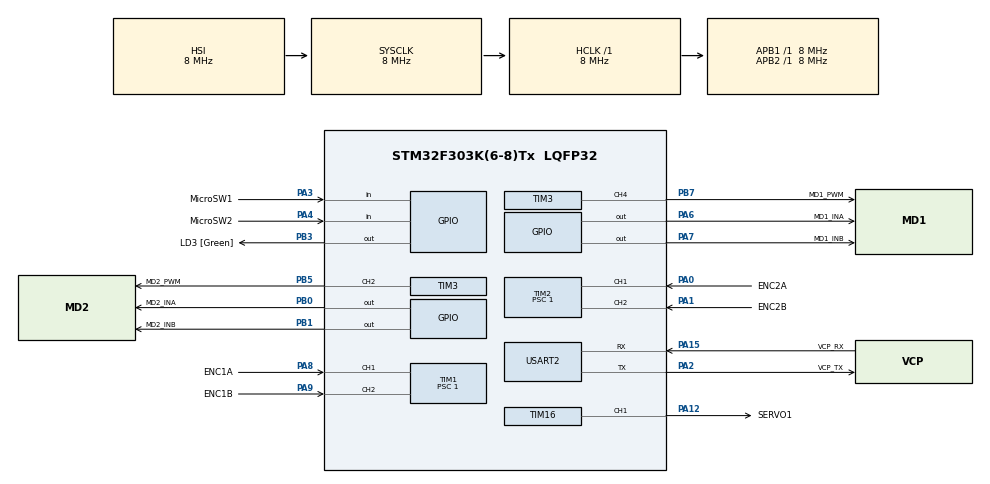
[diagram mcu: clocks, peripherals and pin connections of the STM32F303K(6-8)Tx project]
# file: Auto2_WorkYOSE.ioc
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Mcu.Family=STM32F3
Mcu.Name=STM32F303K(6-8)Tx
Mcu.Package=LQFP32
NVIC.PriorityGroup=NVIC_PRIORITYGROUP_4
NVIC.TIM6_DAC1_IRQn=true\:0\:0\:false\:false\:true\:true\:true
PA0.GPIO_Label=ENC2A
PA0.Signal=S_TIM2_CH1_ETR
PA1.GPIO_Label=ENC2B
PA1.Signal=S_TIM2_CH2
PA12.GPIO_Label=SERVO1
PA12.Signal=S_TIM16_CH1
PA13.GPIO_Label=SWDIO
PA13.Mode=Serial_Wire
PA13.Signal=SYS_JTMS-SWDIO
PA14.GPIO_Label=SWCLK
PA14.Mode=Serial_Wire
PA14.Signal=SYS_JTCK-SWCLK
PA15.GPIO_Label=VCP_RX
PA15.Mode=Asynchronous
PA15.Signal=USART2_RX
PA2.GPIO_Label=VCP_TX
PA2.Mode=Asynchronous
PA2.Signal=USART2_TX
PA3.GPIO_Label=MicroSW1
PA3.GPIO_PuPd=GPIO_PULLUP
PA3.Signal=GPIO_Input
PA4.GPIO_Label=MicroSW2
PA4.GPIO_PuPd=GPIO_PULLUP
PA4.Signal=GPIO_Input
PA6.GPIO_Label=MD1_INA
PA6.Signal=GPIO_Output
PA7.GPIO_Label=MD1_INB
PA7.Signal=GPIO_Output
PA8.GPIO_Label=ENC1A
PA8.Signal=S_TIM1_CH1
PA9.GPIO_Label=ENC1B
PA9.Signal=S_TIM1_CH2
PB0.GPIO_Label=MD2_INA
PB0.Signal=GPIO_Output
PB1.GPIO_Label=MD2_INB
PB1.Signal=GPIO_Output
PB3.GPIO_Label=LD3 [Green]
PB3.Signal=GPIO_Output
PB5.GPIO_Label=MD2_PWM
PB5.Signal=S_TIM3_CH2
PB7.GPIO_Label=MD1_PWM
PB7.Signal=S_TIM3_CH4
PF0\ /\ OSC_IN.GPIO_Label=MCO
PF0\ /\ OSC_IN.Mode=HSE-External-Clock-Source
PF0\ /\ OSC_IN.Signal=RCC_OSC_IN
ProjectManager.HeapSize=0x200
ProjectManager.StackSize=0x400
ProjectManager.TargetToolchain=SW4STM32
RCC.AHBFreq_Value=8000000
RCC.APB1Freq_Value=8000000
RCC.APB2Freq_Value=8000000
RCC.CortexFreq_Value=8000000
RCC.HSE_VALUE=8000000
RCC.HSI_VALUE=8000000
RCC.SYSCLKFreq_VALUE=8000000
SH.S_TIM16_CH1.0=TIM16_CH1,PWM Generation1 CH1
SH.S_TIM1_CH1.0=TIM1_CH1,Encoder_Interface
SH.S_TIM1_CH2.0=TIM1_CH2,Encoder_Interface
SH.S_TIM2_CH1_ETR.0=TIM2_CH1,Encoder_Interface
SH.S_TIM2_CH2.0=TIM2_CH2,Encoder_Interface
SH.S_TIM3_CH2.0=TIM3_CH2,PWM Generation2 CH2
SH.S_TIM3_CH4.0=TIM3_CH4,PWM Generation4 CH4
TIM1.Period=65535
TIM1.Prescaler=1
TIM16.Channel=TIM_CHANNEL_1
TIM16.Period=999
TIM16.Prescaler=159
TIM2.Period=65535
TIM2.Prescaler=1
TIM3.Channel-PWM\ Generation2\ CH2=TIM_CHANNEL_2
TIM3.Channel-PWM\ Generation4\ CH4=TIM_CHANNEL_4
TIM3.Period=999
TIM3.Prescaler=5
TIM6.Period=999
TIM6.Prescaler=159
USART2.VirtualMode-Asynchronous=VM_ASYNC
VP_TIM16_VS_ClockSourceINT.Mode=Enable_Timer
VP_TIM6_VS_ClockSourceINT.Mode=Enable_Timer
board=NUCLEO-F303K8

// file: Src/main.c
/* USER CODE BEGIN Header */
/**
  ******************************************************************************
  * @file           : main.c
  * @brief          : Main program body
  ******************************************************************************
  * @attention
  *
  * <h2><center>&copy; Copyright (c) 2019 STMicroelectronics.
  * All rights reserved.</center></h2>
  *
  * This software component is licensed by ST under BSD 3-Clause license,
  * the "License"; You may not use this file except in compliance with the
  * License. You may obtain a copy of the License at:
  *                        opensource.org/licenses/BSD-3-Clause
  *
  ******************************************************************************
  */
/* USER CODE END Header */

#include "main.h"

/* USER CODE BEGIN Includes */
#include "motor.h"
#include "encoder.h"
#include "servomotor.h"
#include "robotstate.h"
#include "microswitch.h"

/* USER CODE END Includes */

TIM_HandleTypeDef htim1;
TIM_HandleTypeDef htim2;
TIM_HandleTypeDef htim3;
TIM_HandleTypeDef htim6;
TIM_HandleTypeDef htim16;

UART_HandleTypeDef huart2;

/* USER CODE BEGIN PV */
static char s[255] = {'\0'};
int SERVO1_angle = SERVO1_ZERO_ANGLE;
int PREV_SERVO1_angle = SERVO1_ZERO_ANGLE;
/* USER CODE END PV */

void SystemClock_Config(void);
static void MX_GPIO_Init(void);
static void MX_TIM1_Init(void);
static void MX_TIM2_Init(void);
static void MX_TIM3_Init(void);
static void MX_TIM6_Init(void);
static void MX_TIM16_Init(void);
static void MX_USART2_UART_Init(void);

/* USER CODE BEGIN 0 */
void HAL_TIM_PeriodElapsedCallback(TIM_HandleTypeDef *htim) {
	//TIM6割り込み
	if (htim->Instance == TIM6) {
		GetPos();
	}

}

/* USER CODE END 0 */

int main(void)
{

  /* MCU Configuration--------------------------------------------------------*/

  /* Reset of all peripherals, Initializes the Flash interface and the Systick. */
  HAL_Init();

  /* Configure the system clock */
  SystemClock_Config();

  /* Initialize all configured peripherals */
  MX_GPIO_Init();
  MX_TIM1_Init();
  MX_TIM2_Init();
  MX_TIM3_Init();
  MX_TIM6_Init();
  MX_TIM16_Init();
  MX_USART2_UART_Init();
  /* USER CODE BEGIN 2 */
  ServoEnable();

  CoordinateEnable();

  EncEnable();

  HAL_Delay(300);

  ResetYOSE();

  __HAL_TIM_SET_COMPARE(&MD_X_TIM_HANDLER, MD_X_PWM_TIM_CH, 	500);
  HAL_GPIO_WritePin(MD_X_1_PORT, MD_X_1_PIN, GPIO_PIN_RESET);
  HAL_GPIO_WritePin(MD_X_2_PORT, MD_X_2_PIN, GPIO_PIN_SET);

  HAL_Delay(300);

  __HAL_TIM_SET_COMPARE(&MD_X_TIM_HANDLER, MD_X_PWM_TIM_CH, 	0);
  HAL_GPIO_WritePin(MD_X_1_PORT, MD_X_1_PIN, GPIO_PIN_RESET);
  HAL_GPIO_WritePin(MD_X_2_PORT, MD_X_2_PIN, GPIO_PIN_RESET);

  HAL_Delay(2000);

  __HAL_TIM_SET_COMPARE(&MD_Y_TIM_HANDLER, MD_Y_PWM_TIM_CH, 	500);
  HAL_GPIO_WritePin(MD_Y_1_PORT, MD_Y_1_PIN, GPIO_PIN_RESET);
  HAL_GPIO_WritePin(MD_Y_2_PORT, MD_Y_2_PIN, GPIO_PIN_SET);

  HAL_Delay(300);

  __HAL_TIM_SET_COMPARE(&MD_Y_TIM_HANDLER, MD_Y_PWM_TIM_CH, 	0);
  HAL_GPIO_WritePin(MD_Y_1_PORT, MD_Y_1_PIN, GPIO_PIN_RESET);
  HAL_GPIO_WritePin(MD_Y_2_PORT, MD_Y_2_PIN, GPIO_PIN_RESET);

  HAL_Delay(2000);

  //制御割り込み開始
  HAL_TIM_Base_Start_IT(&htim6);

  /* USER CODE END 2 */

  /* Infinite loop */
  /* USER CODE BEGIN WHILE */
  while (1)
  {
	  GetPos();

	  sprintf(s, "posrec.x: %d posrec.y: %d servo1: %d \r\n", (int)(posrec.x*1000.0f),(int)(posrec.y*1000.0f),SERVO1_angle);
	  HAL_UART_Transmit(&huart2,(uint8_t *)s, strlen(s), 100);

    /* USER CODE END WHILE */
//	  int servo_speed = 1;
//	  int delay = 10;

  }
}

void SystemClock_Config(void)
{
  RCC_OscInitTypeDef RCC_OscInitStruct = {0};
  RCC_ClkInitTypeDef RCC_ClkInitStruct = {0};
  RCC_PeriphCLKInitTypeDef PeriphClkInit = {0};

  /** Initializes the CPU, AHB and APB busses clocks
  */
  RCC_OscInitStruct.OscillatorType = RCC_OSCILLATORTYPE_HSI;
  RCC_OscInitStruct.HSIState = RCC_HSI_ON;
  RCC_OscInitStruct.HSICalibrationValue = RCC_HSICALIBRATION_DEFAULT;
  RCC_OscInitStruct.PLL.PLLState = RCC_PLL_NONE;
  if (HAL_RCC_OscConfig(&RCC_OscInitStruct) != HAL_OK)
  {
    Error_Handler();
  }
  /** Initializes the CPU, AHB and APB busses clocks
  */
  RCC_ClkInitStruct.ClockType = RCC_CLOCKTYPE_HCLK|RCC_CLOCKTYPE_SYSCLK
                              |RCC_CLOCKTYPE_PCLK1|RCC_CLOCKTYPE_PCLK2;
  RCC_ClkInitStruct.SYSCLKSource = RCC_SYSCLKSOURCE_HSI;
  RCC_ClkInitStruct.AHBCLKDivider = RCC_SYSCLK_DIV1;
  RCC_ClkInitStruct.APB1CLKDivider = RCC_HCLK_DIV1;
  RCC_ClkInitStruct.APB2CLKDivider = RCC_HCLK_DIV1;

  if (HAL_RCC_ClockConfig(&RCC_ClkInitStruct, FLASH_LATENCY_0) != HAL_OK)
  {
    Error_Handler();
  }
  PeriphClkInit.PeriphClockSelection = RCC_PERIPHCLK_TIM1;
  PeriphClkInit.Tim1ClockSelection = RCC_TIM1CLK_HCLK;
  if (HAL_RCCEx_PeriphCLKConfig(&PeriphClkInit) != HAL_OK)
  {
    Error_Handler();
  }
}

static void MX_TIM1_Init(void)
{

  TIM_Encoder_InitTypeDef sConfig = {0};
  TIM_MasterConfigTypeDef sMasterConfig = {0};

  htim1.Instance = TIM1;
  htim1.Init.Prescaler = 1;
  htim1.Init.CounterMode = TIM_COUNTERMODE_UP;
  htim1.Init.Period = 65535;
  htim1.Init.ClockDivision = TIM_CLOCKDIVISION_DIV1;
  htim1.Init.RepetitionCounter = 0;
  htim1.Init.AutoReloadPreload = TIM_AUTORELOAD_PRELOAD_DISABLE;
  sConfig.EncoderMode = TIM_ENCODERMODE_TI1;
  sConfig.IC1Polarity = TIM_ICPOLARITY_RISING;
  sConfig.IC1Selection = TIM_ICSELECTION_DIRECTTI;
  sConfig.IC1Prescaler = TIM_ICPSC_DIV1;
  sConfig.IC1Filter = 0;
  sConfig.IC2Polarity = TIM_ICPOLARITY_RISING;
  sConfig.IC2Selection = TIM_ICSELECTION_DIRECTTI;
  sConfig.IC2Prescaler = TIM_ICPSC_DIV1;
  sConfig.IC2Filter = 0;
  if (HAL_TIM_Encoder_Init(&htim1, &sConfig) != HAL_OK)
  {
    Error_Handler();
  }
  sMasterConfig.MasterOutputTrigger = TIM_TRGO_RESET;
  sMasterConfig.MasterOutputTrigger2 = TIM_TRGO2_RESET;
  sMasterConfig.MasterSlaveMode = TIM_MASTERSLAVEMODE_DISABLE;
  if (HAL_TIMEx_MasterConfigSynchronization(&htim1, &sMasterConfig) != HAL_OK)
  {
    Error_Handler();
  }

}

static void MX_TIM2_Init(void)
{

  TIM_Encoder_InitTypeDef sConfig = {0};
  TIM_MasterConfigTypeDef sMasterConfig = {0};

  htim2.Instance = TIM2;
  htim2.Init.Prescaler = 1;
  htim2.Init.CounterMode = TIM_COUNTERMODE_UP;
  htim2.Init.Period = 65535;
  htim2.Init.ClockDivision = TIM_CLOCKDIVISION_DIV1;
  htim2.Init.AutoReloadPreload = TIM_AUTORELOAD_PRELOAD_DISABLE;
  sConfig.EncoderMode = TIM_ENCODERMODE_TI1;
  sConfig.IC1Polarity = TIM_ICPOLARITY_RISING;
  sConfig.IC1Selection = TIM_ICSELECTION_DIRECTTI;
  sConfig.IC1Prescaler = TIM_ICPSC_DIV1;
  sConfig.IC1Filter = 0;
  sConfig.IC2Polarity = TIM_ICPOLARITY_RISING;
  sConfig.IC2Selection = TIM_ICSELECTION_DIRECTTI;
  sConfig.IC2Prescaler = TIM_ICPSC_DIV1;
  sConfig.IC2Filter = 0;
  if (HAL_TIM_Encoder_Init(&htim2, &sConfig) != HAL_OK)
  {
    Error_Handler();
  }
  sMasterConfig.MasterOutputTrigger = TIM_TRGO_RESET;
  sMasterConfig.MasterSlaveMode = TIM_MASTERSLAVEMODE_DISABLE;
  if (HAL_TIMEx_MasterConfigSynchronization(&htim2, &sMasterConfig) != HAL_OK)
  {
    Error_Handler();
  }

}

static void MX_TIM3_Init(void)
{

  TIM_MasterConfigTypeDef sMasterConfig = {0};
  TIM_OC_InitTypeDef sConfigOC = {0};

  htim3.Instance = TIM3;
  htim3.Init.Prescaler = 5;
  htim3.Init.CounterMode = TIM_COUNTERMODE_UP;
  htim3.Init.Period = 999;
  htim3.Init.ClockDivision = TIM_CLOCKDIVISION_DIV1;
  htim3.Init.AutoReloadPreload = TIM_AUTORELOAD_PRELOAD_DISABLE;
  if (HAL_TIM_PWM_Init(&htim3) != HAL_OK)
  {
    Error_Handler();
  }
  sMasterConfig.MasterOutputTrigger = TIM_TRGO_RESET;
  sMasterConfig.MasterSlaveMode = TIM_MASTERSLAVEMODE_DISABLE;
  if (HAL_TIMEx_MasterConfigSynchronization(&htim3, &sMasterConfig) != HAL_OK)
  {
    Error_Handler();
  }
  sConfigOC.OCMode = TIM_OCMODE_PWM1;
  sConfigOC.Pulse = 0;
  sConfigOC.OCPolarity = TIM_OCPOLARITY_HIGH;
  sConfigOC.OCFastMode = TIM_OCFAST_DISABLE;
  if (HAL_TIM_PWM_ConfigChannel(&htim3, &sConfigOC, TIM_CHANNEL_2) != HAL_OK)
  {
    Error_Handler();
  }
  if (HAL_TIM_PWM_ConfigChannel(&htim3, &sConfigOC, TIM_CHANNEL_4) != HAL_OK)
  {
    Error_Handler();
  }
  HAL_TIM_MspPostInit(&htim3);

}

static void MX_TIM6_Init(void)
{

  TIM_MasterConfigTypeDef sMasterConfig = {0};

  htim6.Instance = TIM6;
  htim6.Init.Prescaler = 159;
  htim6.Init.CounterMode = TIM_COUNTERMODE_UP;
  htim6.Init.Period = 999;
  htim6.Init.AutoReloadPreload = TIM_AUTORELOAD_PRELOAD_DISABLE;
  if (HAL_TIM_Base_Init(&htim6) != HAL_OK)
  {
    Error_Handler();
  }
  sMasterConfig.MasterOutputTrigger = TIM_TRGO_RESET;
  sMasterConfig.MasterSlaveMode = TIM_MASTERSLAVEMODE_DISABLE;
  if (HAL_TIMEx_MasterConfigSynchronization(&htim6, &sMasterConfig) != HAL_OK)
  {
    Error_Handler();
  }

}

static void MX_TIM16_Init(void)
{

  TIM_OC_InitTypeDef sConfigOC = {0};
  TIM_BreakDeadTimeConfigTypeDef sBreakDeadTimeConfig = {0};

  htim16.Instance = TIM16;
  htim16.Init.Prescaler = 159;
  htim16.Init.CounterMode = TIM_COUNTERMODE_UP;
  htim16.Init.Period = 999;
  htim16.Init.ClockDivision = TIM_CLOCKDIVISION_DIV1;
  htim16.Init.RepetitionCounter = 0;
  htim16.Init.AutoReloadPreload = TIM_AUTORELOAD_PRELOAD_DISABLE;
  if (HAL_TIM_Base_Init(&htim16) != HAL_OK)
  {
    Error_Handler();
  }
  if (HAL_TIM_PWM_Init(&htim16) != HAL_OK)
  {
    Error_Handler();
  }
  sConfigOC.OCMode = TIM_OCMODE_PWM1;
  sConfigOC.Pulse = 0;
  sConfigOC.OCPolarity = TIM_OCPOLARITY_HIGH;
  sConfigOC.OCNPolarity = TIM_OCNPOLARITY_HIGH;
  sConfigOC.OCFastMode = TIM_OCFAST_DISABLE;
  sConfigOC.OCIdleState = TIM_OCIDLESTATE_RESET;
  sConfigOC.OCNIdleState = TIM_OCNIDLESTATE_RESET;
  if (HAL_TIM_PWM_ConfigChannel(&htim16, &sConfigOC, TIM_CHANNEL_1) != HAL_OK)
  {
    Error_Handler();
  }
  sBreakDeadTimeConfig.OffStateRunMode = TIM_OSSR_DISABLE;
  sBreakDeadTimeConfig.OffStateIDLEMode = TIM_OSSI_DISABLE;
  sBreakDeadTimeConfig.LockLevel = TIM_LOCKLEVEL_OFF;
  sBreakDeadTimeConfig.DeadTime = 0;
  sBreakDeadTimeConfig.BreakState = TIM_BREAK_DISABLE;
  sBreakDeadTimeConfig.BreakPolarity = TIM_BREAKPOLARITY_HIGH;
  sBreakDeadTimeConfig.BreakFilter = 0;
  sBreakDeadTimeConfig.AutomaticOutput = TIM_AUTOMATICOUTPUT_DISABLE;
  if (HAL_TIMEx_ConfigBreakDeadTime(&htim16, &sBreakDeadTimeConfig) != HAL_OK)
  {
    Error_Handler();
  }
  HAL_TIM_MspPostInit(&htim16);

}

static void MX_USART2_UART_Init(void)
{

  huart2.Instance = USART2;
  huart2.Init.BaudRate = 38400;
  huart2.Init.WordLength = UART_WORDLENGTH_8B;
  huart2.Init.StopBits = UART_STOPBITS_1;
  huart2.Init.Parity = UART_PARITY_NONE;
  huart2.Init.Mode = UART_MODE_TX_RX;
  huart2.Init.HwFlowCtl = UART_HWCONTROL_NONE;
  huart2.Init.OverSampling = UART_OVERSAMPLING_16;
  huart2.Init.OneBitSampling = UART_ONE_BIT_SAMPLE_DISABLE;
  huart2.AdvancedInit.AdvFeatureInit = UART_ADVFEATURE_NO_INIT;
  if (HAL_UART_Init(&huart2) != HAL_OK)
  {
    Error_Handler();
  }

}

static void MX_GPIO_Init(void)
{
  GPIO_InitTypeDef GPIO_InitStruct = {0};

  /* GPIO Ports Clock Enable */
  __HAL_RCC_GPIOF_CLK_ENABLE();
  __HAL_RCC_GPIOA_CLK_ENABLE();
  __HAL_RCC_GPIOB_CLK_ENABLE();

  /*Configure GPIO pin Output Level */
  HAL_GPIO_WritePin(GPIOA, MD1_INA_Pin|MD1_INB_Pin, GPIO_PIN_RESET);

  /*Configure GPIO pin Output Level */
  HAL_GPIO_WritePin(GPIOB, MD2_INA_Pin|MD2_INB_Pin|LD3_Pin, GPIO_PIN_RESET);

  /*Configure GPIO pins : MicroSW1_Pin MicroSW2_Pin */
  GPIO_InitStruct.Pin = MicroSW1_Pin|MicroSW2_Pin;
  GPIO_InitStruct.Mode = GPIO_MODE_INPUT;
  GPIO_InitStruct.Pull = GPIO_PULLUP;
  HAL_GPIO_Init(GPIOA, &GPIO_InitStruct);

  /*Configure GPIO pins : MD1_INA_Pin MD1_INB_Pin */
  GPIO_InitStruct.Pin = MD1_INA_Pin|MD1_INB_Pin;
  GPIO_InitStruct.Mode = GPIO_MODE_OUTPUT_PP;
  GPIO_InitStruct.Pull = GPIO_NOPULL;
  GPIO_InitStruct.Speed = GPIO_SPEED_FREQ_LOW;
  HAL_GPIO_Init(GPIOA, &GPIO_InitStruct);

  /*Configure GPIO pins : MD2_INA_Pin MD2_INB_Pin LD3_Pin */
  GPIO_InitStruct.Pin = MD2_INA_Pin|MD2_INB_Pin|LD3_Pin;
  GPIO_InitStruct.Mode = GPIO_MODE_OUTPUT_PP;
  GPIO_InitStruct.Pull = GPIO_NOPULL;
  GPIO_InitStruct.Speed = GPIO_SPEED_FREQ_LOW;
  HAL_GPIO_Init(GPIOB, &GPIO_InitStruct);

}

void Error_Handler(void)
{
}

/************************ (C) COPYRIGHT STMicroelectronics *****END OF FILE****/
